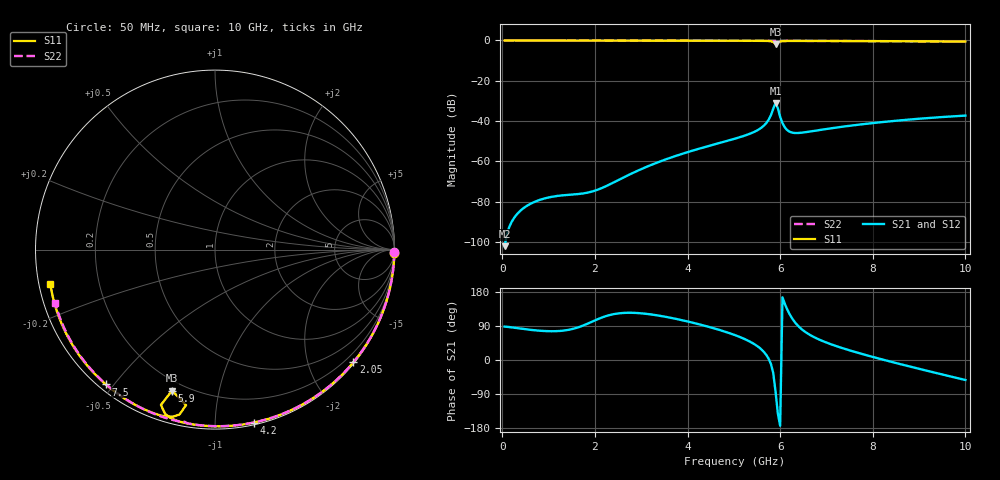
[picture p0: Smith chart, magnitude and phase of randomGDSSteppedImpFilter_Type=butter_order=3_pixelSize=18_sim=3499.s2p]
! freq	dB(S11)	phase(S11)	dB(S12)	phase(S12)
!  dB(S21)	phase(S21)	dB(S22)	phase(S22)
!S-par simulation data
#  GHz  S  DB  R 50
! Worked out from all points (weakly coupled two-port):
!   200 points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, 50 MHz to 10 GHz, reference 50 ohm
!   highest |S21| = -31.00 dB at 5.9 GHz (marker M1); lowest = -102.1 dB at 50 MHz (marker M2)
!   lowest |S11| = -1.7 dB at 5.9 GHz (marker M3), VSWR 10.19, Z = 7.56 - j36.5 ohm
!   |S11| at or under -10 dB: nowhere
!   |S22| runs from -0.5 to 0.0 dB; largest |S21 - S12| = 0
!   S11 on the Smith chart (normalised r, x): 50 MHz: open; 2.05 GHz: 0.03, -2.82; 4.2 GHz: 0.02, -1.25; 5.9 GHz: 0.15, -0.73; 7.5 GHz: 0.02, -0.48; 10 GHz: 0.03, -0.10
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0.05  -0.01 -1.0  -102.12 88.2  -102.12 88.2  -0.01 -0.9
0.7  -0.02 -13.6  -80.08 78.4  -80.08 78.4  -0.02 -12.8
1.1  -0.03 -21.2  -77.49 75.9  -77.49 75.9  -0.02 -20.0
1.75  -0.04 -33.5  -75.93 91.2  -75.93 91.2  -0.04 -31.7
2.05  -0.05 -39.1  -74.17 107.2  -74.17 107.2  -0.05 -36.9
3.4  -0.08 -63.5  -60.13 116.7  -60.13 116.7  -0.08 -60.1
4.2  -0.11 -77.3  -54.07 95.8  -54.07 95.8  -0.10 -73.3
5.05  -0.14 -91.7  -48.58 64.5  -48.58 64.5  -0.13 -86.8
5.45  -0.17 -98.6  -45.28 41.3  -45.28 41.3  -0.15 -93.1
5.65  -0.20 -102.6  -42.25 21.1  -42.25 21.1  -0.16 -96.2
5.75  -0.28 -105.2  -39.40 3.7  -39.40 3.7  -0.17 -97.7
5.85  -0.76 -109.2  -33.95 -33.9  -33.95 -33.9  -0.19 -99.4
5.9  -1.71 -106.9  -31.00 -82.7  -31.00 -82.7  -0.23 -100.0
5.95  -1.10 -100.5  -33.62 -141.0  -33.62 -141.0  -0.22 -100.5
6  -0.54 -102.1  -37.91 -173.6  -37.91 -173.6  -0.20 -101.3
6.05  -0.37 -104.0  -41.03 165.3  -41.03 165.3  -0.19 -102.1
6.15  -0.27 -106.7  -44.45 134.2  -44.45 134.2  -0.19 -103.6
6.3  -0.24 -109.7  -45.91 102.6  -45.91 102.6  -0.20 -105.9
6.7  -0.24 -116.5  -45.01 62.4  -45.01 62.4  -0.22 -111.9
7.5  -0.29 -129.0  -42.36 25.4  -42.36 25.4  -0.28 -123.8
8.35  -0.37 -142.1  -40.19 -3.2  -40.19 -3.2  -0.35 -136.4
10  -0.56 -168.1  -37.31 -52.8  -37.31 -52.8  -0.55 -161.4
